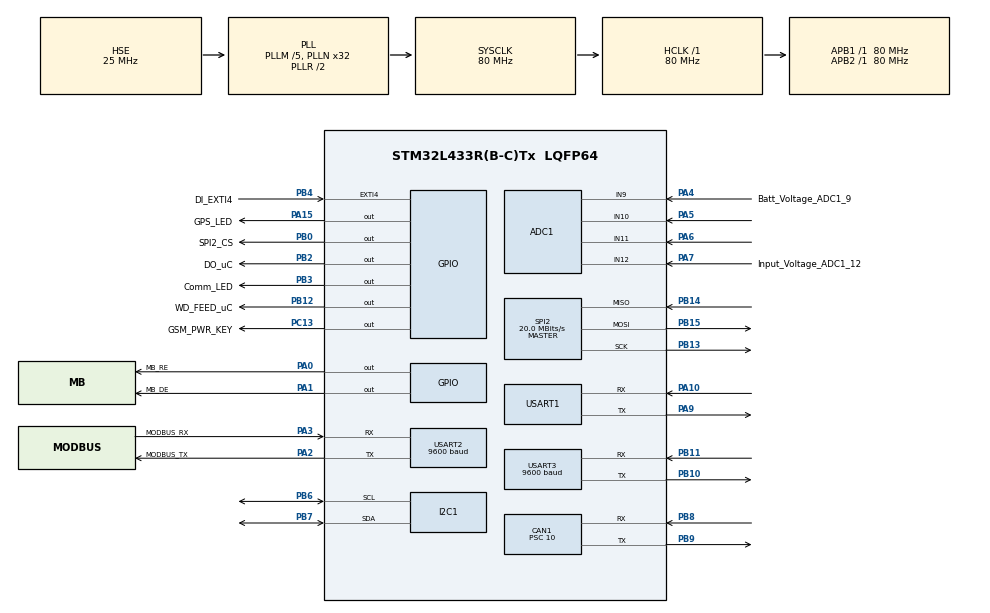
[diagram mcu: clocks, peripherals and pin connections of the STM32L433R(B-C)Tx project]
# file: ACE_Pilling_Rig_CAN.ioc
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ADC1.Channel-0\#ChannelRegularConversion=ADC_CHANNEL_9
ADC1.Channel-1\#ChannelRegularConversion=ADC_CHANNEL_10
ADC1.Channel-2\#ChannelRegularConversion=ADC_CHANNEL_11
ADC1.Channel-3\#ChannelRegularConversion=ADC_CHANNEL_12
ADC1.ContinuousConvMode=ENABLE
ADC1.DMAContinuousRequests=ENABLE
ADC1.NbrOfConversion=4
ADC1.NbrOfConversionFlag=1
ADC1.OffsetNumber-0\#ChannelRegularConversion=ADC_OFFSET_NONE
ADC1.OffsetNumber-1\#ChannelRegularConversion=ADC_OFFSET_NONE
ADC1.OffsetNumber-2\#ChannelRegularConversion=ADC_OFFSET_NONE
ADC1.OffsetNumber-3\#ChannelRegularConversion=ADC_OFFSET_NONE
ADC1.Rank-0\#ChannelRegularConversion=1
ADC1.Rank-1\#ChannelRegularConversion=2
ADC1.Rank-2\#ChannelRegularConversion=3
ADC1.Rank-3\#ChannelRegularConversion=4
ADC1.SamplingTime-0\#ChannelRegularConversion=ADC_SAMPLETIME_640CYCLES_5
ADC1.SamplingTime-1\#ChannelRegularConversion=ADC_SAMPLETIME_640CYCLES_5
ADC1.SamplingTime-2\#ChannelRegularConversion=ADC_SAMPLETIME_640CYCLES_5
ADC1.SamplingTime-3\#ChannelRegularConversion=ADC_SAMPLETIME_640CYCLES_5
ADC1.master=1
CAN1.ABOM=ENABLE
CAN1.AWUM=ENABLE
CAN1.BS1=CAN_BS1_13TQ
CAN1.BS2=CAN_BS2_2TQ
CAN1.CalculateBaudRate=500000
CAN1.CalculateTimeBit=2000
CAN1.CalculateTimeQuantum=125.0
CAN1.Prescaler=10
CAN1.TTCM=ENABLE
Dma.ADC1.0.Direction=DMA_PERIPH_TO_MEMORY
Dma.ADC1.0.Instance=DMA1_Channel1
Dma.ADC1.0.MemDataAlignment=DMA_MDATAALIGN_WORD
Dma.ADC1.0.MemInc=DMA_MINC_ENABLE
Dma.ADC1.0.Mode=DMA_CIRCULAR
Dma.ADC1.0.PeriphDataAlignment=DMA_PDATAALIGN_WORD
Dma.ADC1.0.PeriphInc=DMA_PINC_DISABLE
Dma.ADC1.0.Priority=DMA_PRIORITY_LOW
Dma.Request0=ADC1
I2C1.Timing=0x10909CEC
IWDG.Prescaler=IWDG_PRESCALER_256
Mcu.Family=STM32L4
Mcu.Name=STM32L433R(B-C)Tx
Mcu.Package=LQFP64
NVIC.ADC1_IRQn=true\:6\:0\:true\:false\:true\:true\:true\:true
NVIC.CAN1_RX0_IRQn=true\:1\:0\:true\:false\:true\:true\:true\:true
NVIC.CAN1_RX1_IRQn=true\:1\:0\:true\:false\:true\:true\:true\:true
NVIC.CAN1_SCE_IRQn=true\:1\:0\:true\:false\:true\:true\:true\:true
NVIC.CAN1_TX_IRQn=true\:1\:0\:true\:false\:true\:true\:true\:true
NVIC.DMA1_Channel1_IRQn=true\:6\:0\:true\:false\:true\:false\:true\:true
NVIC.EXTI4_IRQn=true\:2\:0\:true\:false\:true\:true\:true\:true
NVIC.I2C1_ER_IRQn=true\:4\:0\:true\:false\:true\:true\:true\:true
NVIC.I2C1_EV_IRQn=true\:4\:0\:true\:false\:true\:true\:true\:true
NVIC.PriorityGroup=NVIC_PRIORITYGROUP_4
NVIC.SPI2_IRQn=true\:4\:0\:true\:false\:true\:true\:true\:true
NVIC.TIM7_IRQn=true\:0\:0\:false\:false\:true\:true\:true\:true
NVIC.USART1_IRQn=true\:2\:0\:true\:false\:true\:true\:true\:true
NVIC.USART2_IRQn=true\:0\:0\:false\:false\:true\:true\:true\:true
NVIC.USART3_IRQn=true\:0\:0\:false\:false\:true\:true\:true\:true
PA0.GPIO_Label=MB_RE
PA0.Signal=GPIO_Output
PA1.GPIO_Label=MB_DE
PA1.Signal=GPIO_Output
PA10.Mode=Asynchronous
PA10.Signal=USART1_RX
PA13\ (JTMS-SWDIO).Mode=Serial_Wire
PA13\ (JTMS-SWDIO).Signal=SYS_JTMS-SWDIO
PA14\ (JTCK-SWCLK).Mode=Serial_Wire
PA14\ (JTCK-SWCLK).Signal=SYS_JTCK-SWCLK
PA15\ (JTDI).GPIO_Label=GPS_LED
PA15\ (JTDI).Signal=GPIO_Output
PA2.GPIO_Label=MODBUS_TX
PA2.Mode=Asynchronous
PA2.Signal=USART2_TX
PA3.GPIO_Label=MODBUS_RX
PA3.Mode=Asynchronous
PA3.Signal=USART2_RX
PA4.GPIO_Label=Batt_Voltage_ADC1_9
PA4.Signal=ADCx_IN9
PA5.Signal=ADCx_IN10
PA6.Signal=ADCx_IN11
PA7.GPIO_Label=Input_Voltage_ADC1_12
PA7.Signal=ADCx_IN12
PA9.Mode=Asynchronous
PA9.Signal=USART1_TX
PB0.GPIO_Label=SPI2_CS
PB0.Signal=GPIO_Output
PB10.Mode=Asynchronous
PB10.Signal=USART3_TX
PB11.Mode=Asynchronous
PB11.Signal=USART3_RX
PB12.GPIO_Label=WD_FEED_uC
PB12.Signal=GPIO_Output
PB13.Mode=Full_Duplex_Master
PB13.Signal=SPI2_SCK
PB14.Mode=Full_Duplex_Master
PB14.Signal=SPI2_MISO
PB15.Mode=Full_Duplex_Master
PB15.Signal=SPI2_MOSI
PB2.GPIO_Label=DO_uC
PB2.Signal=GPIO_Output
PB3\ (JTDO-TRACESWO).GPIO_Label=Comm_LED
PB3\ (JTDO-TRACESWO).Signal=GPIO_Output
PB4\ (NJTRST).GPIO_Label=DI_EXTI4
PB4\ (NJTRST).GPIO_ModeDefaultEXTI=GPIO_MODE_IT_RISING_FALLING
PB4\ (NJTRST).Signal=GPXTI4
PB6.Mode=I2C
PB6.Signal=I2C1_SCL
PB7.Mode=I2C
PB7.Signal=I2C1_SDA
PB8.Mode=CAN_Activate
PB8.Signal=CAN1_RX
PB9.Mode=CAN_Activate
PB9.Signal=CAN1_TX
PC13.GPIO_Label=GSM_PWR_KEY
PC13.Signal=GPIO_Output
PH0-OSC_IN\ (PH0).Mode=HSE-External-Oscillator
PH0-OSC_IN\ (PH0).Signal=RCC_OSC_IN
PH1-OSC_OUT\ (PH1).Mode=HSE-External-Oscillator
PH1-OSC_OUT\ (PH1).Signal=RCC_OSC_OUT
ProjectManager.HeapSize=0x200
ProjectManager.StackSize=0x400
ProjectManager.TargetToolchain=STM32CubeIDE
RCC.ADCFreq_Value=32500000
RCC.AHBFreq_Value=80000000
RCC.APB1Freq_Value=80000000
RCC.APB1TimFreq_Value=80000000
RCC.APB2Freq_Value=80000000
RCC.APB2TimFreq_Value=80000000
RCC.CortexFreq_Value=80000000
RCC.HCLKFreq_Value=80000000
RCC.HSE_VALUE=25000000
RCC.HSI48_VALUE=48000000
RCC.HSI_VALUE=16000000
RCC.LSE_VALUE=32768
RCC.MSI_VALUE=4000000
RCC.PLLM=5
RCC.PLLN=32
RCC.PLLSAI1N=13
RCC.PLLSourceVirtual=RCC_PLLSOURCE_HSE
RCC.SYSCLKFreq_VALUE=80000000
RCC.SYSCLKSource=RCC_SYSCLKSOURCE_PLLCLK
RCC.USBFreq_Value=32500000
RCC.VCOOutputFreq_Value=160000000
RTC.AsynchPrediv=127
RTC.SynchPrediv=249
SH.ADCx_IN10.0=ADC1_IN10,IN10-Single-Ended
SH.ADCx_IN11.0=ADC1_IN11,IN11-Single-Ended
SH.ADCx_IN12.0=ADC1_IN12,IN12-Single-Ended
SH.ADCx_IN9.0=ADC1_IN9,IN9-Single-Ended
SPI2.BaudRatePrescaler=SPI_BAUDRATEPRESCALER_4
SPI2.CalculateBaudRate=20.0 MBits/s
SPI2.Direction=SPI_DIRECTION_2LINES
SPI2.Mode=SPI_MODE_MASTER
SPI2.VirtualType=VM_MASTER
TIM7.Period=39999
TIM7.Prescaler=1
USART1.OverrunDisableParam=ADVFEATURE_OVERRUN_DISABLE
USART1.VirtualMode-Asynchronous=VM_ASYNC
USART2.BaudRate=9600
USART2.OverrunDisableParam=ADVFEATURE_OVERRUN_DISABLE
USART2.VirtualMode-Asynchronous=VM_ASYNC
USART3.BaudRate=9600
USART3.OverrunDisableParam=ADVFEATURE_OVERRUN_DISABLE
USART3.VirtualMode-Asynchronous=VM_ASYNC
VP_IWDG_VS_IWDG.Mode=IWDG_Activate
VP_RTC_VS_RTC_Activate.Mode=RTC_Enabled
VP_TIM7_VS_ClockSourceINT.Mode=Enable_Timer
board=custom

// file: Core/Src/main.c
/* USER CODE BEGIN Header */
/**
  ******************************************************************************
  * @file           : main.c
  * @brief          : Main program body
  ******************************************************************************
  * @attention
  *
  * Copyright (c) 2023 STMicroelectronics.
  * All rights reserved.
  *
  * This software is licensed under terms that can be found in the LICENSE file
  * in the root directory of this software component.
  * If no LICENSE file comes with this software, it is provided AS-IS.
  *
  ******************************************************************************
  */
/* USER CODE END Header */
#include "main.h"
#include "adc.h"
#include "can.h"
#include "dma.h"
#include "i2c.h"
#include "iwdg.h"
#include "rtc.h"
#include "spi.h"
#include "tim.h"
#include "usart.h"
#include "gpio.h"

/* USER CODE BEGIN Includes */
#include "system_reset.h"
#include "timer.h"
#include "deviceinfo.h"
#include "externs.h"
#include "payload.h"
#include "user_adc.h"
#include "string.h"
#include <stdlib.h>
#include "queue.h"
#include "user_can.h"
#include "user_MqttSubSperator.h"
#include "user_modbus_rs485.h"
/* USER CODE END Includes */

/* USER CODE BEGIN PM */
#define ON (1)
#define OFF (!ON)
/* USER CODE END PM */

void SystemClock_Config(void);

/* USER CODE BEGIN 0 */
#if(DEBUGENABLE == TRUE)
    char temp[10] = "";
	static uint32_t counter;
	uint32_t CharacterCounter;
	char DebugBuff[3000]={'0'};
#endif
uint8_t gu8ModuleInitNotifyCnt= 0;
_Bool GSMInitCompleteFlag = FALSE;
_Bool boolstartCan = TRUE;

char * strLoc = NULL;
char * payload = NULL;

/*
 * uint8_t u8daignostic		7 				6 		   5		 4				 3 			   2   1   0
 *                     device Startup Module Re/Start Rev Service_Provider4 Service_Provider3 NW2 NW1 NW0
 */
uint8_t u8daignostic = 0;
/* USER CODE END 0 */

int main(void)
{

  /* MCU Configuration--------------------------------------------------------*/

  /* Reset of all peripherals, Initializes the Flash interface and the Systick. */
  HAL_Init();

  /* Configure the system clock */
  SystemClock_Config();

  /* Initialize all configured peripherals */
  MX_GPIO_Init();
  MX_DMA_Init();
  MX_ADC1_Init();
  MX_CAN1_Init();
  MX_IWDG_Init();
  MX_I2C1_Init();
  MX_RTC_Init();
  MX_SPI2_Init();
  MX_TIM7_Init();
  MX_USART1_UART_Init();
  MX_USART3_UART_Init();
  MX_USART2_UART_Init();
  /* USER CODE BEGIN 2 */
  updateDeviceSignature();
  HAL_TIM_Base_Start_IT(&htim7);
  LL_USART_EnableIT_RXNE(USART1);

	#if(DEBUGENABLE == TRUE)
	 LL_USART_EnableIT_RXNE(USART3);
	#endif

	gsmInstance.enmGSMPwrState = enmGSM_PWRNOTSTARTED;
	gu32PayloadQueueEnqueue = ONE_MIN;
	u8daignostic|=(1<<7); // Device Started

	g_stEepromBuffMemAdd.u32BuffFlashWriteAddress = 0;
	g_stEepromBuffMemAdd.u32BuffFlashReadAddress = 0;
	EEPROM_RetriveBuffMemData();
	FlashStr.u32FlashReadAddress =  g_stEepromBuffMemAdd.u32BuffFlashReadAddress;
	FlashStr.u32FlashWriteAddress = g_stEepromBuffMemAdd.u32BuffFlashWriteAddress;
	SFlash_Chip_Select(DISABLE);
	SFlash_Read_Device_ID();
	FlashStr.bitFlagSFlashData = 0;
	FlashStr.bitFlagMemoryFull = 0;
	FlashStr.bitFlagReadInProgress = 0;
	Queue_InitLiveQ(&gsmLivePayload);
	Queue_InitBuffQ(&gsmBuffPayload);

	ReadImmobilizedStateFromEEPROM();

  /* USER CODE END 2 */

  /* Infinite loop */
  /* USER CODE BEGIN WHILE */
  while (1)
  {
	  HAL_IWDG_Refresh(&hiwdg);
	  	  HAL_GPIO_TogglePin(WD_FEED_uC_GPIO_Port, WD_FEED_uC_Pin);

	  	  if(boolstartCan)// && (Internal_Battery_Flag == FALSE))
	  	  {
	  		  canFilterConfig();
	  		  boolstartCan = FALSE;
	  		  Diagnostic(enmDiagnostic_CAN_ID);
	  		#if(DEBUGENABLE == TRUE)
	  		  strcat(DebugBuff,"\r\nDevice Started ......");
	  		#endif

	  	  }//end of if(startCan)

	  	  /*1. ADC module Task*/
	  	 Adc_FSM();
	  	 /* Serial Flash operations */
	  	 SerialFlashFSM();
	  #if(DEBUGENABLE == TRUE)
	  		CharacterCounter=strlen(DebugBuff);
	  	   if(CharacterCounter>1)
	  		{
	  		   if(counter<CharacterCounter)
	  			{
	  				if(!LL_USART_IsActiveFlag_TXE(USART3))
	  				{
	  				  /*Do Nothing . Wait For Previous Character Transmission */
	  				}
	  				else
	  				{
	  					//LL_USART_ReceiveData8(USART3, DebugBuff[counter++]);
	  					LL_USART_TransmitData8(USART3, DebugBuff[counter++]);
	  				}
	  			}
	  		   else if(counter==CharacterCounter)
	  	//                else
	  			{
	  			  memset(DebugBuff, 0x00,  sizeof(DebugBuff)); /* Clear  Buffer */

	  			  counter=0;
	  			  CharacterCounter=0;
	  			}
	  			else{}
	  		}//end of if(CharacterCounter>1)
	  #endif

	  	 parseCanMessageQueue();
	  	executeCANQueries();

	  	 ModbusMaster_FSM();

	  	   if((boolFOTACompleteFlag == TRUE) && (Queue_IsLiveQueueEmpty(&gsmLivePayload) == TRUE))
	  	   {
	  	   		systemReset();
	  	   }
	  	   if((gu32PayloadQueueEnqueue == 0) && (gu32FotaRquestFlag == FALSE)) //&& (GSMInitCompleteFlag == TRUE)
	  	   {
	  	   		Queue_LiveEnequeue(&gsmLivePayload,(char *)getMachineDataString());
	  	   		if(boolInginitionStatus == ON)
	  	   		{
	  	   			gu32PayloadQueueEnqueue = TEN_SEC; /* Upload Frequency */
	  	   		}
	  	   		else
	  	   		{
	  	   			gu32PayloadQueueEnqueue = ONE_MIN; /* Upload Frequency */
	  	   		}

	  	   }//end of if((gu32PayloadQueueEnqueue == 0) && (gu32FotaRquestFlag == FALSE) ))

	  	   if(gsmInstance.u32GSMTimer > TWO_MIN)
	  		  gsmInstance.u32GSMTimer =TWO_SEC;

	  	  if(gu32GSMHangTimer == 0)
	  		  initGSMSIM868();

	  	  operateGSMSIM868();

	  	  if(SUBTriggerFlag == TRUE)
	  	  {
	  		SubRevicedString();
	  	  }//end of  if(SUBTriggerFlag == TRUE)
	  	CheckImmobilization();
	  	/* LED Indications */
	  	  if(gu32LEDDelay == 0)
	  	  {
	  		  HAL_GPIO_WritePin(Comm_LED_GPIO_Port, Comm_LED_Pin, GPIO_PIN_RESET);

	  		  //for module reset
	  		  if((gu8ModuleInitNotifyCnt <= 3) && (gu8ModuleInitFlag == TRUE))
	  		  {
	  			  HAL_GPIO_TogglePin(GPS_LED_GPIO_Port, GPS_LED_Pin);
	  			  gu8ModuleInitNotifyCnt++;
	  		  }
	  		  else
	  		  {
	  			 gu8ModuleInitNotifyCnt = 0;
	  			 gu8ModuleInitFlag = FALSE;
	  		  }

	  		  if(HAL_GPIO_ReadPin(GPIOB, DI_EXTI4_Pin) == HIGH)            //check pin state
	  		  {
	  			  boolInginitionStatus = FALSE;
	  		  }
	  		  else if(HAL_GPIO_ReadPin(GPIOB, DI_EXTI4_Pin) == LOW)
	  		  {
	  			  boolInginitionStatus = TRUE;
	  			  if(gu32PayloadQueueEnqueue > TEN_SEC)
	  			  {
	  				  gu32PayloadQueueEnqueue = TEN_SEC;
	  			  }
	  		  }

	  		  gu32LEDDelay = ONE_SEC;
	  	  }//End of if(gu32LEDDelay == 0)
    /* USER CODE END WHILE */

  }
}

void SystemClock_Config(void)
{
  RCC_OscInitTypeDef RCC_OscInitStruct = {0};
  RCC_ClkInitTypeDef RCC_ClkInitStruct = {0};

  /** Configure the main internal regulator output voltage
  */
  if (HAL_PWREx_ControlVoltageScaling(PWR_REGULATOR_VOLTAGE_SCALE1) != HAL_OK)
  {
    Error_Handler();
  }

  /** Initializes the RCC Oscillators according to the specified parameters
  * in the RCC_OscInitTypeDef structure.
  */
  RCC_OscInitStruct.OscillatorType = RCC_OSCILLATORTYPE_LSI|RCC_OSCILLATORTYPE_HSE;
  RCC_OscInitStruct.HSEState = RCC_HSE_ON;
  RCC_OscInitStruct.LSIState = RCC_LSI_ON;
  RCC_OscInitStruct.PLL.PLLState = RCC_PLL_ON;
  RCC_OscInitStruct.PLL.PLLSource = RCC_PLLSOURCE_HSE;
  RCC_OscInitStruct.PLL.PLLM = 5;
  RCC_OscInitStruct.PLL.PLLN = 32;
  RCC_OscInitStruct.PLL.PLLP = RCC_PLLP_DIV7;
  RCC_OscInitStruct.PLL.PLLQ = RCC_PLLQ_DIV2;
  RCC_OscInitStruct.PLL.PLLR = RCC_PLLR_DIV2;
  if (HAL_RCC_OscConfig(&RCC_OscInitStruct) != HAL_OK)
  {
    Error_Handler();
  }

  /** Initializes the CPU, AHB and APB buses clocks
  */
  RCC_ClkInitStruct.ClockType = RCC_CLOCKTYPE_HCLK|RCC_CLOCKTYPE_SYSCLK
                              |RCC_CLOCKTYPE_PCLK1|RCC_CLOCKTYPE_PCLK2;
  RCC_ClkInitStruct.SYSCLKSource = RCC_SYSCLKSOURCE_PLLCLK;
  RCC_ClkInitStruct.AHBCLKDivider = RCC_SYSCLK_DIV1;
  RCC_ClkInitStruct.APB1CLKDivider = RCC_HCLK_DIV1;
  RCC_ClkInitStruct.APB2CLKDivider = RCC_HCLK_DIV1;

  if (HAL_RCC_ClockConfig(&RCC_ClkInitStruct, FLASH_LATENCY_4) != HAL_OK)
  {
    Error_Handler();
  }
}

void Error_Handler(void)
{
  __disable_irq();
  while (1)
  {
  }
}
